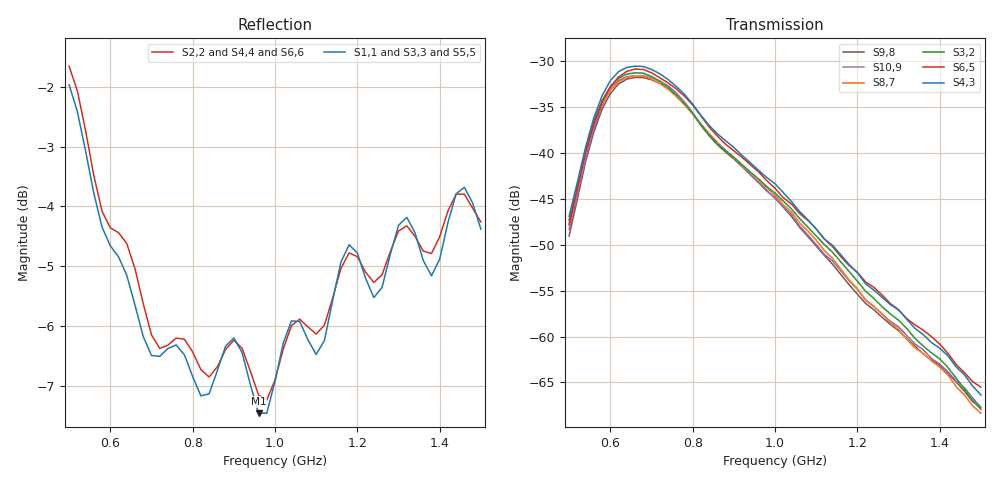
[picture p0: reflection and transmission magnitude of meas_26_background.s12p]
! Converted from meas_26_background.mat
! MATLAB 5.0 MAT-file, Platform: PCWIN64, Created on: Sat Nov 21 15:42:12 2026
! Ports 1-12 = antennas 1-12; IFBW=1000 Hz, power=0 dBm, doCalibration flag=0
! SW_A serial 12410080206: antennas 1 3 5 7 9 11
! SW_B serial 12410080235: antennas 2 4 6 8 10 12
! WARNING: Sij (i!=j) between two odd or two even ports was NOT MEASURED (NaN in source).
! Those entries are written as 0 0 placeholders. Do not treat them as data.
! Reference impedance 50 ohm is assumed (not stored in source).
# Hz S RI R 50
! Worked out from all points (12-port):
!   51 points, 500 MHz to 1.5 GHz, reference 50 ohm
!   strongest paths, dB at 500 MHz, 740 MHz, 1 GHz, 1.26 GHz, 1.5 GHz:
!     S4,3: -46.9, -32.0, -43.4, -55.7, -66.4
!     S6,5: -47.8, -32.4, -43.8, -55.5, -65.5
!     S3,2: -47.3, -32.9, -44.4, -56.7, -67.9
!     S8,7: -47.9, -33.1, -44.6, -57.5, -68.4
!     S10,9: -48.3, -32.7, -44.9, -57.5, -67.7
!     S9,8: -49.0, -33.0, -44.9, -57.9, -67.8
!   lowest |S11| = -7.5 dB at 960 MHz (marker M1), VSWR 2.47, Z = 24.3 - j20 ohm
!   |S11| at or under -10 dB: nowhere
